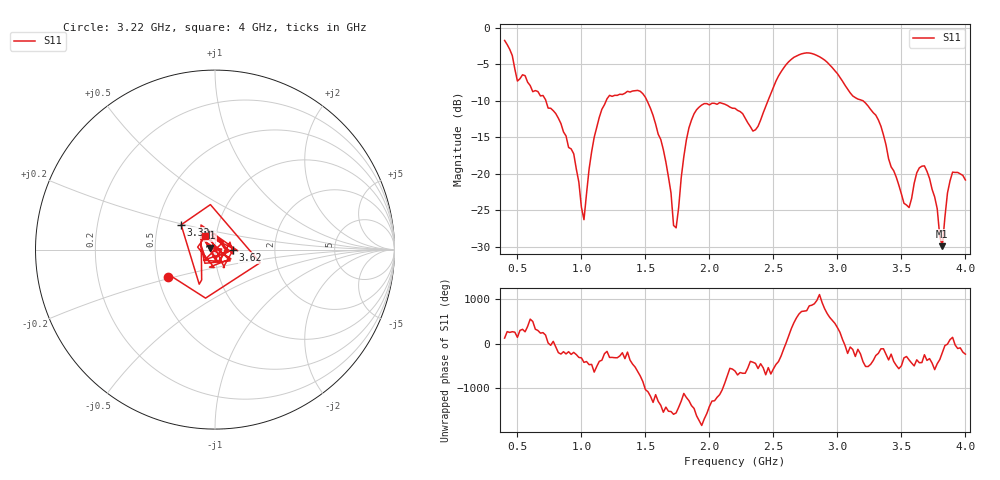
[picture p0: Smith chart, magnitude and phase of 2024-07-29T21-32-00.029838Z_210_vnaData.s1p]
!Created with skrf (http://scikit-rf.org).
# Hz S RI R 50.0
!freq ReS11 ImS11
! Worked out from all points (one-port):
!   181 points, 400 MHz to 4 GHz, reference 50 ohm
!   lowest |S11| = -29.9 dB at 3.82 GHz (marker M1), VSWR 1.07, Z = 47.1 + j1.07 ohm
!   |S11| at or under -10 dB: 722.5 MHz to 1.193 GHz (470.9 MHz wide, 49.2 % of centre); 1.513 GHz to 2.457 GHz (944.5 MHz wide, 47.6 % of centre); 3.2 GHz to end of sweep
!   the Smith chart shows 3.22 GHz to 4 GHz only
!   S11 on the Smith chart (normalised r, x): 3.22 GHz: 0.56, -0.19; 3.32 GHz: 0.66, +0.19; 3.62 GHz: 1.23, -0.00; 4 GHz: 0.89, +0.13
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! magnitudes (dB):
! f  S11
! 400 MHz  -1.7
! 500 MHz  -7.3
! 860 MHz  -14.3
! 940 MHz  -17.3
! 1.02 GHz  -26.3
! 1.08 GHz  -17.0
! 1.14 GHz  -12.2
! 1.3 GHz  -9.1
! 1.5 GHz  -9.5
! 1.64 GHz  -16.7
! 1.72 GHz  -27.1
! 1.76 GHz  -24.6
! 1.82 GHz  -15.4
! 1.88 GHz  -11.8
! 2.2 GHz  -11.0
! 2.36 GHz  -14.0
! 2.66 GHz  -4.1
! 2.88 GHz  -4.2
! 3.1 GHz  -8.9
! 3.22 GHz  -10.3
! 3.32 GHz  -12.6
! 3.56 GHz  -24.6
! 3.62 GHz  -19.9
! 3.72 GHz  -20.6
! 3.82 GHz  -29.9
! 3.86 GHz  -22.6
! 3.9 GHz  -19.8
! 4 GHz  -20.8
